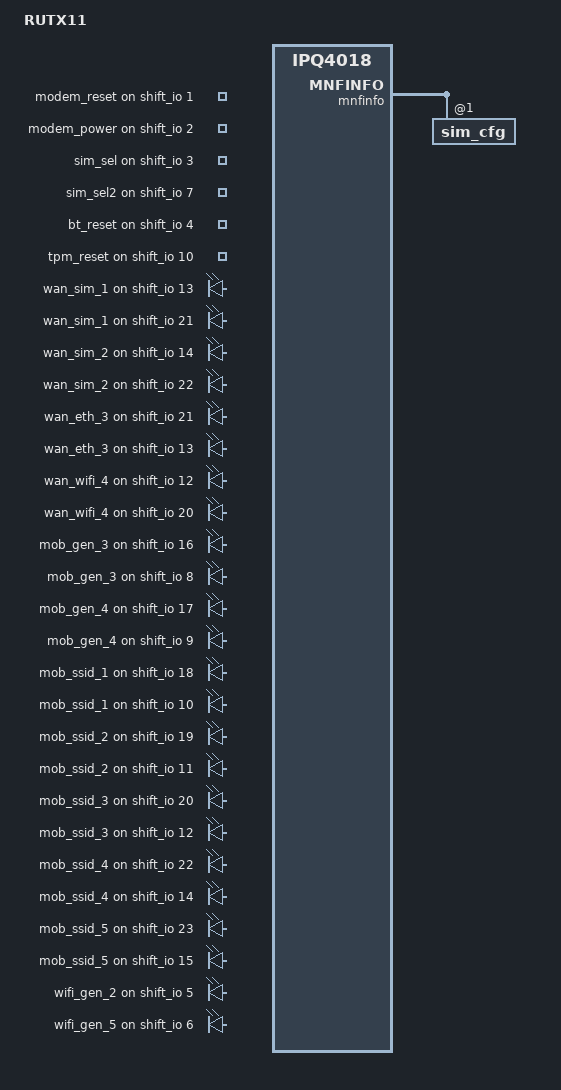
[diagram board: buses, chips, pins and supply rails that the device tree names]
#include "qcom-ipq4018-rutx-shiftreg.dtsi"

/ {
	model = "RUTX11";

	soc {
		gpio-export {
			compatible = "gpio-export";
			#size-cells = <0>;

			gpio_modem_reset {
				gpio-export,name = "modem_reset";
				gpio-export,output = <0>;
				gpios = <&shift_io 1 GPIO_ACTIVE_HIGH>;
			};

			gpio_modem_power {
				gpio-export,name = "modem_power";
				gpio-export,output = <0>;
				gpios = <&shift_io 2 GPIO_ACTIVE_HIGH>;
			};

			gpio_sim_select {
				gpio-export,name = "sim_sel";
				gpio-export,output = <0>;
				gpios = <&shift_io 3 GPIO_ACTIVE_HIGH>;
			};

			gpio_sim_select2 {
				gpio-export,name = "sim_sel2";
				gpio-export,output = <0>;
				gpios = <&shift_io 7 GPIO_ACTIVE_HIGH>;
			};

			gpio_bt_reset {
				tlt-mnf,hwver = <1300 9999>;
				gpio-export,name = "bt_reset";
				line-name = "bt_reset";
				gpio-export,output = <0>;
				gpio-export,toggle = <100>; // ms
				gpios = <&shift_io 4 GPIO_ACTIVE_HIGH>;
			};

			gpio_tpm_reset {
				tlt-mnf,hwver = <1300 9999>;
				gpio-export,name = "tpm_reset";
				gpio-export,output = <1>;
				gpios = <&shift_io 10 GPIO_ACTIVE_HIGH>;
			};
		};

		leds {
			compatible = "gpio-leds";

			led_wan_sim1@1 {
				tlt-mnf,hwver = <1300 9999>;
				label = "wan_sim_1";
				gpios = <&shift_io 13 GPIO_ACTIVE_HIGH>;
			};

			led_wan_sim1 {
				label = "wan_sim_1";
				gpios = <&shift_io 21 GPIO_ACTIVE_HIGH>;
			};

			led_wan_sim2@1 {
				tlt-mnf,hwver = <1300 9999>;
				label = "wan_sim_2";
				gpios = <&shift_io 14 GPIO_ACTIVE_HIGH>;
			};

			led_wan_sim2 {
				label = "wan_sim_2";
				gpios = <&shift_io 22 GPIO_ACTIVE_HIGH>;
			};

			led_wan_eth@1 {
				tlt-mnf,hwver = <1300 9999>;
				label = "wan_eth_3";
				gpios = <&shift_io 21 GPIO_ACTIVE_HIGH>;
			};

			led_wan_eth {
				label = "wan_eth_3";
				gpios = <&shift_io 13 GPIO_ACTIVE_HIGH>;
			};

			led_wan_wifi@1 {
				tlt-mnf,hwver = <1300 9999>;
				label = "wan_wifi_4";
				gpios = <&shift_io 12 GPIO_ACTIVE_HIGH>;
			};

			led_wan_wifi {
				label = "wan_wifi_4";
				gpios = <&shift_io 20 GPIO_ACTIVE_HIGH>;
			};

			led_gen_3@1 {
				tlt-mnf,hwver = <1300 9999>;
				label = "mob_gen_3";
				gpios = <&shift_io 16 GPIO_ACTIVE_HIGH>;
			};

			led_gen_3 {
				label = "mob_gen_3";
				gpios = <&shift_io 8 GPIO_ACTIVE_HIGH>;
			};

			led_gen_4@1 {
				tlt-mnf,hwver = <1300 9999>;
				label = "mob_gen_4";
				gpios = <&shift_io 17 GPIO_ACTIVE_HIGH>;
			};

			led_gen_4 {
				label = "mob_gen_4";
				gpios = <&shift_io 9 GPIO_ACTIVE_HIGH>;
			};

			led_ssid_1@1 {
				tlt-mnf,hwver = <1300 9999>;
				label = "mob_ssid_1";
				gpios = <&shift_io 18 GPIO_ACTIVE_HIGH>;
				linux,default-trigger = "timer";
			};

			led_ssid_1 {
				label = "mob_ssid_1";
				gpios = <&shift_io 10 GPIO_ACTIVE_HIGH>;
				linux,default-trigger = "timer";
			};

			led_ssid_2@1 {
				tlt-mnf,hwver = <1300 9999>;
				label = "mob_ssid_2";
				gpios = <&shift_io 19 GPIO_ACTIVE_HIGH>;
				linux,default-trigger = "timer";
			};

			led_ssid_2 {
				label = "mob_ssid_2";
				gpios = <&shift_io 11 GPIO_ACTIVE_HIGH>;
				linux,default-trigger = "timer";
			};

			led_ssid_3@1 {
				tlt-mnf,hwver = <1300 9999>;
				label = "mob_ssid_3";
				gpios = <&shift_io 20 GPIO_ACTIVE_HIGH>;
				linux,default-trigger = "timer";
			};

			led_ssid_3 {
				label = "mob_ssid_3";
				gpios = <&shift_io 12 GPIO_ACTIVE_HIGH>;
				linux,default-trigger = "timer";
			};

			led_ssid_4@1 {
				tlt-mnf,hwver = <1300 9999>;
				label = "mob_ssid_4";
				gpios = <&shift_io 22 GPIO_ACTIVE_HIGH>;
				linux,default-trigger = "timer";
			};

			led_ssid_4 {
				label = "mob_ssid_4";
				gpios = <&shift_io 14 GPIO_ACTIVE_HIGH>;
				linux,default-trigger = "timer";
			};

			led_ssid_5@1 {
				tlt-mnf,hwver = <1300 9999>;
				label = "mob_ssid_5";
				gpios = <&shift_io 23 GPIO_ACTIVE_HIGH>;
				linux,default-trigger = "timer";
			};

			led_ssid_5 {
				label = "mob_ssid_5";
				gpios = <&shift_io 15 GPIO_ACTIVE_HIGH>;
				linux,default-trigger = "timer";
			};

			led_wifi_24 {
				label = "wifi_gen_2";
				gpios = <&shift_io 5 GPIO_ACTIVE_HIGH>;
			};

			led_wifi_50 {
				label = "wifi_gen_5";
				gpios = <&shift_io 6 GPIO_ACTIVE_HIGH>;
			};
		};
	};

	tlt_gpios { // Modify according to wiki page "DTS syntax with Libgpiod changes"
		gpiochip_info {
			hw_9 {
				hwver = <9>;
				gpiochip_count = <2>;

				gpiochip_0 = <100>; // Built-in
				gpiochip_1 = <24>;  // Shift Register
			};
		};

		ioman {
			GPIO_0 {
				compatible_versions_0 = <9 99>;
				line_name = "GPIO_IN_1";
				active_low;
			};
			GPIO_100 {
				compatible_versions = <9 99>;
				line_name = "GPIO_OUT_1";
			};
		};

		misc {
			GPIO_101 {
				compatible_versions = <9 99>;
				line_name = "GPIO_MODEM_RESET_1";
			};
			GPIO_102 {
				compatible_versions = <9 99>;
				line_name = "GPIO_MODEM_POWER_1";
			};
			GPIO_103 {
				compatible_versions = <9 99>;
				line_name = "GPIO_SIM_SELECT";
			};
			GPIO_104 {
				compatible_versions = <13 99>;
				line_name = "BT_RESET";
			};
			GPIO_107 {
				compatible_versions = <12 99>;
				line_name = "GPIO_SIM_SELECT2";
			};
			GPIO_110 {
				compatible_versions = <13 99>;
				line_name = "GPIO_TPM_RESET";
			};
		};
	};
};

&mnfinfo {
	sim_cfg {
		default = "2111000_2112000";
	};

	sim_cfg@1 {
		tlt-mnf,hwver = <1200 9999>;
		reg = <&config 0x120 0x20>;
		type = "simcfg";
		default = "2112110_2111010_2122210";
	};

	simpin3 {
		tlt-mnf,hwver = <1200 9999>;
		reg = <&config_rw 0x20 0x8>;
		type = "digit";
		default = "";
		sec;
	};
};
